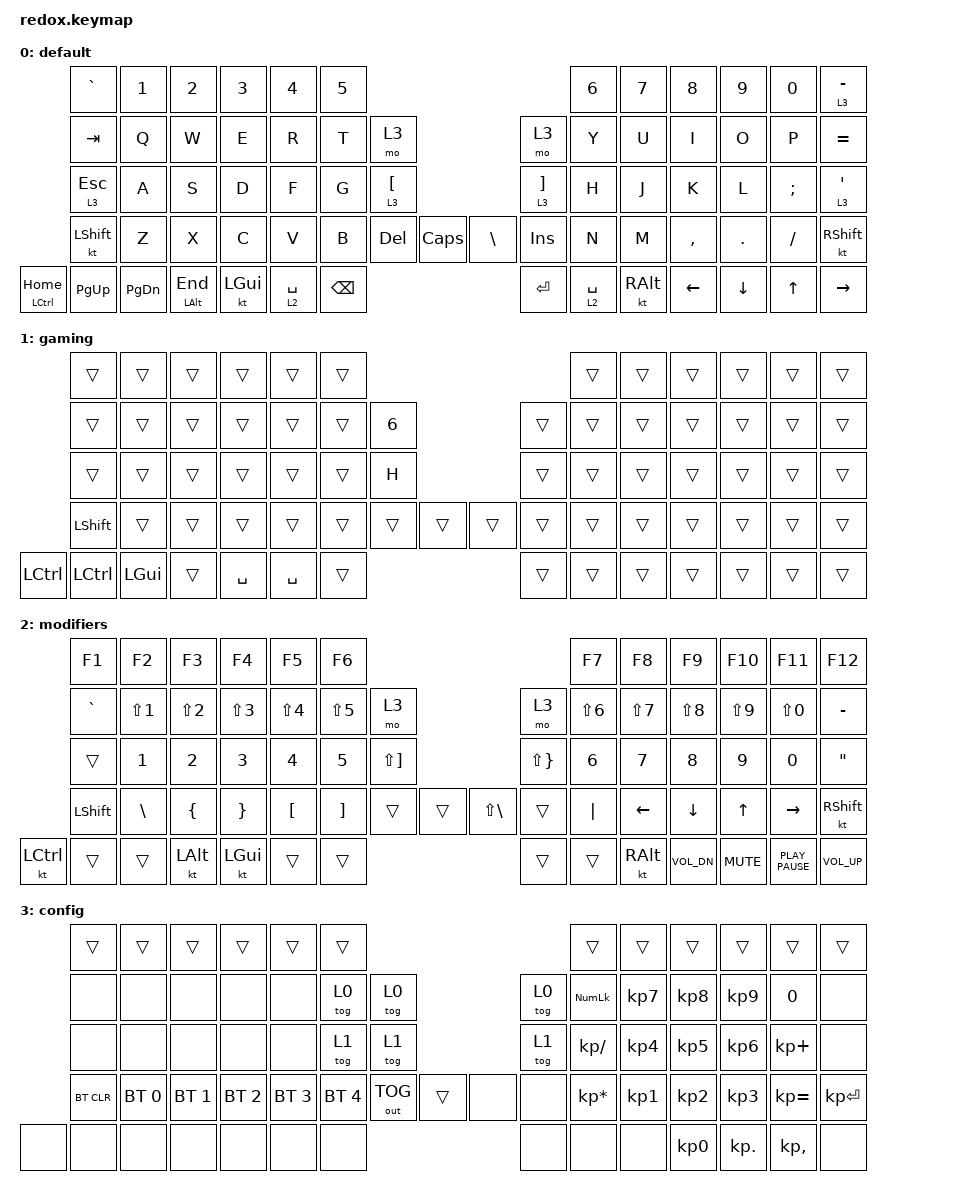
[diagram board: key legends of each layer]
/*
 * Copyright (c) 2021 The ZMK Contributors
 *
 * SPDX-License-Identifier: MIT
 */

#include <behaviors.dtsi>
#include <dt-bindings/zmk/keys.h>
#include <dt-bindings/zmk/keys.h>
#include <dt-bindings/zmk/bt.h>
#include <dt-bindings/zmk/outputs.h>

/ {
    keymap {
        compatible = "zmk,keymap";

        default {
            // --------------------------------------------------------------------------------------------------------------------------------
            // | ESC   |  1  |  2  |   3   |  4  |  5  |                   ---                |  6    |  7    |  8    |  9   | 0  |    BKSP   |
            // | TAB   |  Q  |  W  |   E   |  R  |  T  |   (   |           ---        |  )    |  Y    |  U    |  I    |  O   | P  |     -     |
            // | CTRL  |  A  |  S  |   D   |  F  |  G  |   [   |           ---        |  ]    |  H    |  J    |  K    |  L   | ;  |     '     |
            // | SHIFT |  Z  |  X  |   C   |  V  |  B  | PG_UP | PG_DOWN | --- | HOME | END   |  N    |  M    |  ,    |  .   | /  | SHFT(RET) |
            // | CRTL  | ALT | GUI | LOWER |    GUI    | LOWER | SPACE   | --- | DEL  | SPACE |     RAISE     | LEFT  | DOWN | UP |   RIGHT   |

            bindings = <
     &kp GRAVE     &kp N1         &kp N2        &kp N3    &kp N4  &kp N5                                                                         &kp N6         &kp N7     &kp N8    &kp N9    &kp N0         &lt 3 MINUS
       &kp TAB      &kp Q          &kp W         &kp E     &kp R   &kp T               &mo 3                                              &mo 3   &kp Y          &kp U      &kp I     &kp O     &kp P           &kp EQUAL
     &lt 3 ESC      &kp A          &kp S         &kp D     &kp F   &kp G  &lt 3 LEFT_BRACKET                                &lt 3 RIGHT_BRACKET   &kp H          &kp J      &kp K     &kp L  &kp SEMI  &lt 3 SINGLE_QUOTE
     &kt LSHFT      &kp Z          &kp X         &kp C     &kp V   &kp B             &kp DEL       &kp CAPS  &kp BACKSLASH           &kp INSERT   &kp N          &kp M  &kp COMMA   &kp DOT  &kp FSLH           &kt RSHFT
&mt LCTRL HOME  &kp PG_UP  &kp PAGE_DOWN  &mt LALT END  &kt LGUI                 &lt 2 SPACE  &kp BACKSPACE      &kp ENTER          &lt 2 SPACE          &kt RIGHT_ALT   &kp LEFT  &kp DOWN    &kp UP           &kp RIGHT
            >;
        };

        gaming {
            // --------------------------------------------------------------------------------------------------------------------------
            // | ESC   |  1  |  2  |   3   |   4   |  5  |                   ---              |  6  |  7  |   8  |  9   |  0  |  DEL  |
            // | ESC   |  1  |  2  |   3   |   4   |  5  |   (   |           ---        |  )  |  6  |  7  |   8  |  9   |  0  |  DEL  |
            // | CTRL  |  -  |  =  |   [   |   ]   |  \  |   [   |           ---        |  ]  |  *  |  4  |   5  |  6   |  +  |   -   |
            // | SHIFT | ESC | GUI | COPY  | PASTE |     | PG_UP | PG_DOWN | --- | HOME | END |  \  |  1  |   2  |  3   | RET |  RET  |
            // | CRTL  | ALT | GUI | LOWER |     GUI     | LOWER | SPACE   | --- | DEL  |  0  |    RAISE  | LEFT | DOWN | UP  | RIGHT |

            bindings = <
          &trans            &trans        &trans  &trans     &trans  &trans                                        &trans  &trans  &trans  &trans  &trans  &trans
          &trans            &trans        &trans  &trans     &trans  &trans  &kp NUMBER_6                  &trans  &trans  &trans  &trans  &trans  &trans  &trans
          &trans            &trans        &trans  &trans     &trans  &trans         &kp H                  &trans  &trans  &trans  &trans  &trans  &trans  &trans
      &kp LSHIFT            &trans        &trans  &trans     &trans  &trans        &trans  &trans  &trans  &trans  &trans  &trans  &trans  &trans  &trans  &trans
&kp LEFT_CONTROL  &kp LEFT_CONTROL  &kp LEFT_GUI  &trans  &kp SPACE             &kp SPACE  &trans  &trans  &trans          &trans  &trans  &trans  &trans  &trans
            >;
        };

        modifiers {
            // ----------------------------------------------------------------------------------------------------------------------------
            // | ESC   |  1  |  2  |   3   |  4  |  5  |                   ---                |  6   |  7   |  8   |  9   |  0    |  DEL  |
            // | ESC   |  !  |  @  |   #   |  $  |  %  |   (   |           ---        |  )    |  ^   |  &   |  *   |  (   |  )    |  DEL  |
            // | CTRL  |  _  |  +  |   {   |  }  | "|" |   [   |           ---        |  ]    | HOME | PGUP | PRSC | UP   |  `    |   ~   |
            // | SHIFT | ESC | GUI |   (   |  )  |     | PG_UP | PG_DOWN | --- | HOME | END   | END  | PGDN | LEFT | DOWN | RIGHT |  RET  |
            // | CRTL  | ALT | GUI | LOWER |    GUI    | LOWER | SPACE   | --- | DEL  | SPACE |    RAISE    | LEFT | DOWN | UP    | RIGHT |

            bindings = <
   &kp F1         &kp F2          &kp F3           &kp F4            &kp F5             &kp F6                                                             &kp F7         &kp F8        &kp F9     &kp F10           &kp F11          &kp F12
&kp GRAVE     &kp LS(N1)      &kp LS(N2)       &kp LS(N3)        &kp LS(N4)         &kp LS(N5)         &mo 3                                    &mo 3  &kp LS(N6)     &kp LS(N7)    &kp LS(N8)  &kp LS(N9)        &kp LS(N0)        &kp MINUS
   &trans         &kp N1          &kp N2           &kp N3            &kp N4             &kp N5  &kp LS(RBKT)                             &kp LS(RBRC)      &kp N6         &kp N7        &kp N8      &kp N9            &kp N0          &kp DQT
&kp LSHFT  &kp BACKSLASH  &kp LEFT_BRACE  &kp RIGHT_BRACE  &kp LEFT_BRACKET  &kp RIGHT_BRACKET        &trans  &trans  &kp LS(BACKSLASH)        &trans    &kp PIPE       &kp LEFT      &kp DOWN      &kp UP         &kp RIGHT  &kt RIGHT_SHIFT
&kt LCTRL         &trans          &trans         &kt LALT      &kt LEFT_GUI                           &trans  &trans             &trans        &trans              &kt RIGHT_ALT  &kp K_VOL_DN  &kp K_MUTE  &kp K_PLAY_PAUSE     &kp K_VOL_UP
            >;
        };

        config {
            // -----------------------------------------------------------------------------------------
            // |  F1   |  F2   |    F3    |    F4     |     F5     | F6 |                   ---                | F7  | F8  |  F9  |  F10 | F11 | F12        |
            // | TAB   |       |          |           |            |    | BOOTL |           ---        |  )    | BT1 | BT2 |  BT3 |  BT4 | BT5 | OUTPUT TGL |
            // | CTRL  | MUTE  |  Vol Dn  |  Vol Up   | Play/Pause |    | RESET |           ---        |  ]    | F1  | F2  |  F3  |  F4  | F5  | F6         |
            // | SHIFT | PSCRN |  PSCRN   |   CAPS    |            |    | PG_UP | PG_DOWN | --- | HOME | END   | F7  | F8  |  F9  |  F10 | F11 | F12        |
            // | CRTL  | ALT   |  GUI     |   LOWER   |      GUI        | LOWER | SPACE   | --- | DEL  | SPACE |   RAISE   | LEFT | DOWN | UP  |   RIGHT    |

            bindings = <
    &trans        &trans        &trans        &trans        &trans        &trans                                                &trans           &trans           &trans           &trans        &trans        &trans
     &none         &none         &none         &none         &none        &tog 0        &tog 0                 &tog 0   &kp KP_NUMLOCK  &kp KP_NUMBER_7        &kp KP_N8        &kp KP_N9         &kp 0         &none
     &none         &none         &none         &none         &none        &tog 1        &tog 1                 &tog 1     &kp KP_SLASH  &kp KP_NUMBER_4  &kp KP_NUMBER_5  &kp KP_NUMBER_6   &kp KP_PLUS         &none
&bt BT_CLR  &bt BT_SEL 0  &bt BT_SEL 1  &bt BT_SEL 2  &bt BT_SEL 3  &bt BT_SEL 4  &out OUT_TOG  &trans  &none   &none  &kp KP_ASTERISK  &kp KP_NUMBER_1  &kp KP_NUMBER_2  &kp KP_NUMBER_3  &kp KP_EQUAL  &kp KP_ENTER
     &none         &none         &none         &none         &none                       &none   &none  &none   &none                             &none  &kp KP_NUMBER_0       &kp KP_DOT  &kp KP_COMMA         &none
            >;
        };
    };
};
